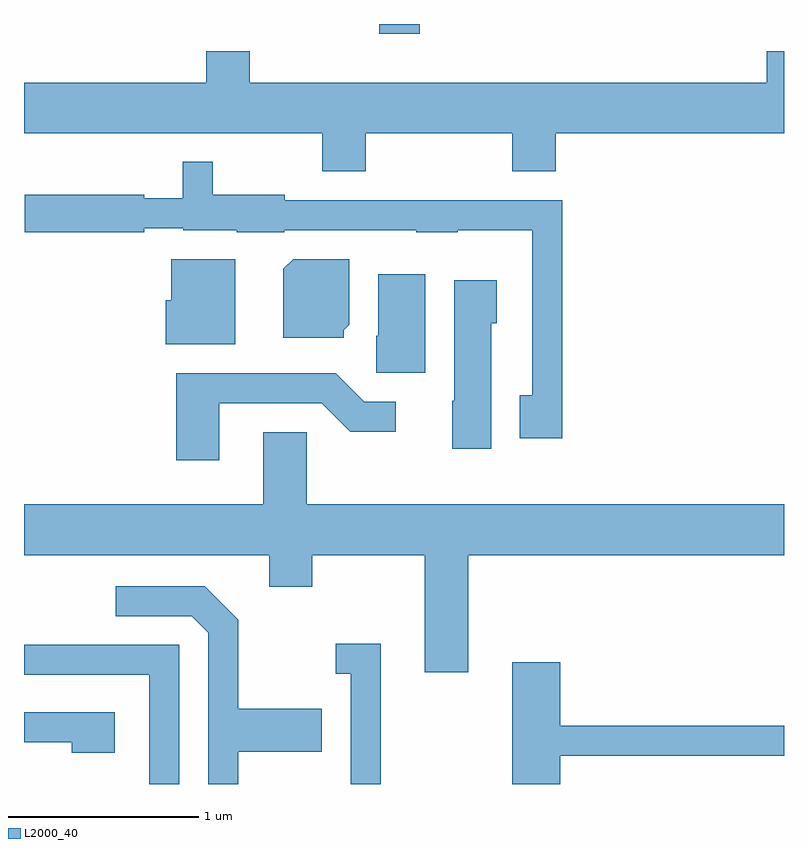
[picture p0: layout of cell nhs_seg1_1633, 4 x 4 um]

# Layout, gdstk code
import gdstk
lib = gdstk.Library(unit=1e-6, precision=1e-09)
def R(c, l, rs):  # rectangles x0, y0, x1, y1
    for r in rs: c.add(gdstk.rectangle(r[:2], r[2:], *l))
def P(c, l, *ps):  # polygons
    for p in ps: c.add(gdstk.Polygon(p, *l))
L2000_40 = (2000, 40)

nhs_seg1_1633 = lib.new_cell('nhs_seg1_1633')
R(nhs_seg1_1633, L2000_40, [(237.481,895.661,237.694,895.712)])
P(nhs_seg1_1633, L2000_40, [(237.409,895.136),(238.181,895.136),(238.181,894.936),(238.409,894.936),(238.409,895.136),(239.611,895.136),(239.611,895.569),(239.521,895.569),(239.521,895.404),(236.799,895.404),(236.799,895.569),(236.571,895.569),(236.571,895.404),(235.611,895.404),(235.611,895.136),(237.181,895.136),(237.181,894.936),(237.409,894.936)],
  [(238.444,894.784),(236.984,894.784),(236.984,894.814),(236.604,894.814),(236.604,894.988),(236.446,894.988),(236.446,894.794),(236.244,894.794),(236.244,894.814),(235.616,894.814),(235.616,894.616),(236.244,894.616),(236.244,894.636),(236.45,894.636),(236.45,894.626),(236.73,894.626),(236.73,894.616),(236.98,894.616),(236.98,894.626),(237.675,894.626),(237.675,894.616),(237.895,894.616),(237.895,894.626),(238.286,894.626),(238.286,893.759),(238.221,893.759),(238.221,893.531),(238.444,893.531)],
  [(236.724,894.474),(236.386,894.474),(236.386,894.259),(236.356,894.259),(236.356,894.026),(236.724,894.026)],
  [(237.294,894.099),(237.324,894.129),(237.324,894.474),(237.027,894.474),(236.976,894.424),(236.976,894.061),(237.294,894.061)],
  [(237.724,894.394),(237.476,894.394),(237.476,894.07),(237.466,894.07),(237.466,893.876),(237.724,893.876)],
  [(238.069,894.136),(238.099,894.136),(238.099,894.364),(237.876,894.364),(237.876,893.73),(237.866,893.73),(237.866,893.476),(238.069,893.476)],
  [(236.639,893.716),(237.179,893.716),(237.329,893.566),(237.568,893.566),(237.568,893.724),(237.402,893.724),(237.252,893.874),(236.411,893.874),(236.411,893.416),(236.639,893.416)],
  [(237.099,893.564),(236.871,893.564),(236.871,893.184),(235.611,893.184),(235.611,892.916),(236.901,892.916),(236.901,892.751),(237.129,892.751),(237.129,892.916),(237.721,892.916),(237.721,892.301),(237.949,892.301),(237.949,892.916),(239.611,892.916),(239.611,893.184),(237.099,893.184)],
  [(236.739,891.881),(237.179,891.881),(237.179,892.109),(236.739,892.109),(236.739,892.577),(236.562,892.754),(236.093,892.754),(236.093,892.596),(236.494,892.596),(236.581,892.509),(236.581,891.712),(236.739,891.712)],
  [(237.489,892.449),(237.253,892.449),(237.253,892.291),(237.331,892.291),(237.331,891.712),(237.489,891.712)],
  [(236.429,892.444),(235.611,892.444),(235.611,892.286),(236.271,892.286),(236.271,891.712),(236.429,891.712)],
  [(238.434,891.861),(239.611,891.861),(239.611,892.019),(238.434,892.019),(238.434,892.354),(238.181,892.354),(238.181,891.712),(238.434,891.712)],
  [(236.089,892.089),(235.611,892.089),(235.611,891.931),(235.861,891.931),(235.861,891.876),(236.089,891.876)])

lib.write_gds('nhs_seg1_1633.gds')
